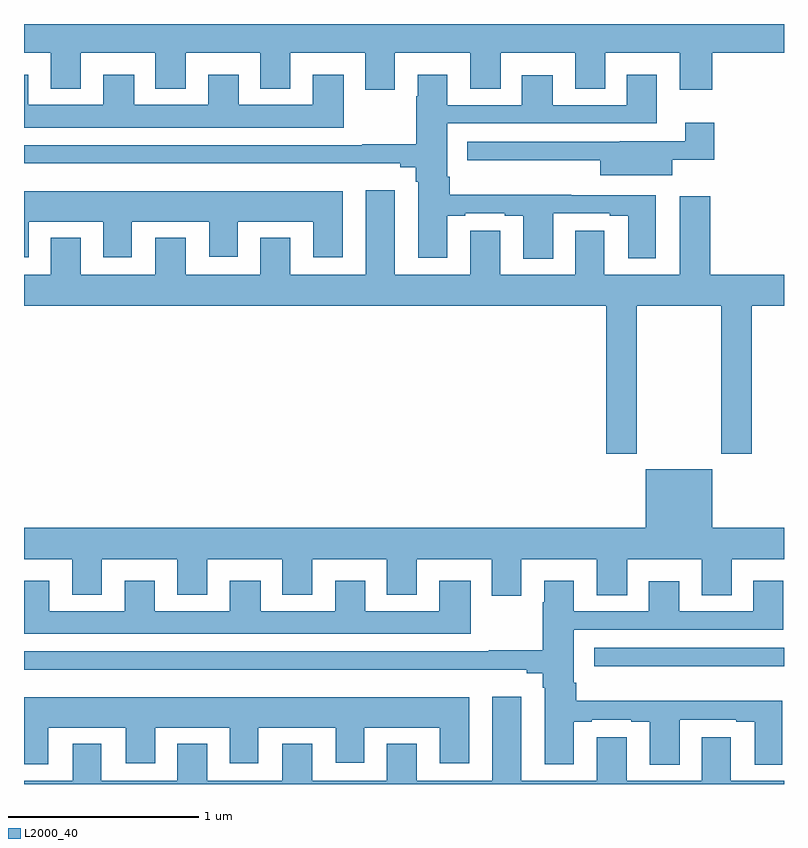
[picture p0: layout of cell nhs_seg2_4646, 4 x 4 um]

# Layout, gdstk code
import gdstk
lib = gdstk.Library(unit=1e-6, precision=1e-09)
def R(c, l, rs):  # rectangles x0, y0, x1, y1
    for r in rs: c.add(gdstk.rectangle(r[:2], r[2:], *l))
def P(c, l, *ps):  # polygons
    for p in ps: c.add(gdstk.Polygon(p, *l))
L2000_40 = (2000, 40)

nhs_seg2_4646 = lib.new_cell('nhs_seg2_4646')
R(nhs_seg2_4646, L2000_40, [(366,632.42,367,632.517)])
P(nhs_seg2_4646, L2000_40, [(364.951,635.648),(365.348,635.648),(365.348,635.458),(365.509,635.458),(365.509,635.648),(365.9,635.648),(365.9,635.458),(366.058,635.458),(366.058,635.648),(366.452,635.648),(366.452,635.454),(366.623,635.454),(366.623,635.648),(367,635.648),(367,635.8),(363,635.8),(363,635.648),(363.14,635.648),(363.14,635.459),(363.298,635.459),(363.298,635.648),(363.692,635.648),(363.692,635.459),(363.85,635.459),(363.85,635.648),(364.244,635.648),(364.244,635.459),(364.402,635.459),(364.402,635.648),(364.796,635.648),(364.796,635.454),(364.951,635.454)],
  [(364.684,635.533),(364.52,635.533),(364.52,635.374),(364.129,635.374),(364.129,635.533),(363.971,635.533),(363.971,635.374),(363.58,635.374),(363.58,635.533),(363.416,635.533),(363.416,635.374),(363.022,635.374),(363.022,635.533),(363,635.533),(363,635.255),(364.684,635.255)],
  [(365.785,634.803),(366.083,634.803),(366.083,634.791),(366.179,634.791),(366.179,634.566),(366.325,634.566),(366.325,634.899),(365.881,634.899),(365.881,634.901),(365.24,634.901),(365.24,634.996),(365.227,634.996),(365.227,635.277),(366.331,635.277),(366.331,635.533),(366.173,635.533),(366.173,635.373),(365.782,635.373),(365.782,635.53),(365.621,635.53),(365.621,635.373),(365.227,635.373),(365.227,635.533),(365.072,635.533),(365.072,635.42),(365.065,635.42),(365.065,635.168),(364.78,635.168),(364.78,635.163),(363,635.163),(363,635.066),(364.979,635.066),(364.979,635.047),(365.063,635.047),(365.063,634.97),(365.075,634.97),(365.075,634.569),(365.227,634.569),(365.227,634.791),(365.323,634.791),(365.323,634.803),(365.531,634.803),(365.531,634.791),(365.627,634.791),(365.627,634.565),(365.785,634.565)],
  [(366.412,635.085),(366.632,635.085),(366.632,635.281),(366.479,635.281),(366.479,635.182),(366.136,635.182),(366.136,635.181),(365.334,635.181),(365.334,635.084),(366.032,635.084),(366.032,635.003),(366.412,635.003)],
  [(366.225,634.316),(366.67,634.316),(366.67,633.537),(366.83,633.537),(366.83,634.316),(367,634.316),(367,634.48),(366.613,634.48),(366.613,634.894),(366.452,634.894),(366.452,634.48),(366.055,634.48),(366.055,634.711),(365.9,634.711),(365.9,634.48),(365.506,634.48),(365.506,634.711),(365.348,634.711),(365.348,634.48),(364.951,634.48),(364.951,634.924),(364.799,634.924),(364.799,634.48),(364.402,634.48),(364.402,634.675),(364.244,634.675),(364.244,634.48),(363.85,634.48),(363.85,634.675),(363.692,634.675),(363.692,634.48),(363.298,634.48),(363.298,634.675),(363.14,634.675),(363.14,634.48),(363,634.48),(363,634.316),(366.065,634.316),(366.065,633.537),(366.225,633.537)],
  [(363.025,634.76),(363.416,634.76),(363.416,634.572),(363.568,634.572),(363.568,634.76),(363.974,634.76),(363.974,634.575),(364.126,634.575),(364.126,634.76),(364.523,634.76),(364.523,634.572),(364.678,634.572),(364.678,634.921),(363,634.921),(363,634.572),(363.025,634.572)],
  [(363,632.984),(363.254,632.984),(363.254,632.795),(363.409,632.795),(363.409,632.984),(363.806,632.984),(363.806,632.795),(363.964,632.795),(363.964,632.984),(364.358,632.984),(364.358,632.795),(364.516,632.795),(364.516,632.984),(364.91,632.984),(364.91,632.795),(365.068,632.795),(365.068,632.984),(365.462,632.984),(365.462,632.79),(365.617,632.79),(365.617,632.984),(366.014,632.984),(366.014,632.794),(366.175,632.794),(366.175,632.984),(366.566,632.984),(366.566,632.794),(366.724,632.794),(366.724,632.984),(367,632.984),(367,633.148),(366.622,633.148),(366.622,633.457),(366.272,633.457),(366.272,633.148),(363,633.148)],
  [(365.35,632.869),(365.186,632.869),(365.186,632.71),(364.795,632.71),(364.795,632.869),(364.637,632.869),(364.637,632.71),(364.246,632.71),(364.246,632.869),(364.082,632.869),(364.082,632.71),(363.688,632.71),(363.688,632.869),(363.53,632.869),(363.53,632.71),(363.133,632.71),(363.133,632.869),(363,632.869),(363,632.591),(365.35,632.591)],
  [(366.451,632.139),(366.749,632.139),(366.749,632.127),(366.845,632.127),(366.845,631.902),(366.991,631.902),(366.991,632.237),(365.906,632.237),(365.906,632.332),(365.893,632.332),(365.893,632.613),(366.997,632.613),(366.997,632.869),(366.839,632.869),(366.839,632.709),(366.448,632.709),(366.448,632.866),(366.287,632.866),(366.287,632.709),(365.893,632.709),(365.893,632.869),(365.738,632.869),(365.738,632.756),(365.731,632.756),(365.731,632.504),(365.446,632.504),(365.446,632.499),(363,632.499),(363,632.402),(365.645,632.402),(365.645,632.383),(365.729,632.383),(365.729,632.306),(365.741,632.306),(365.741,631.905),(365.893,631.905),(365.893,632.127),(365.989,632.127),(365.989,632.139),(366.197,632.139),(366.197,632.127),(366.293,632.127),(366.293,631.901),(366.451,631.901)],
  [(367,631.816),(366.721,631.816),(366.721,632.047),(366.566,632.047),(366.566,631.816),(366.172,631.816),(366.172,632.047),(366.014,632.047),(366.014,631.816),(365.617,631.816),(365.617,632.26),(365.465,632.26),(365.465,631.816),(365.068,631.816),(365.068,632.011),(364.91,632.011),(364.91,631.816),(364.516,631.816),(364.516,632.011),(364.358,632.011),(364.358,631.816),(363.964,631.816),(363.964,632.011),(363.806,632.011),(363.806,631.816),(363.406,631.816),(363.406,632.011),(363.257,632.011),(363.257,631.816),(363,631.816),(363,631.8),(367,631.8)],
  [(363.127,632.096),(363.536,632.096),(363.536,631.908),(363.691,631.908),(363.691,632.096),(364.082,632.096),(364.082,631.908),(364.234,631.908),(364.234,632.096),(364.64,632.096),(364.64,631.911),(364.792,631.911),(364.792,632.096),(365.189,632.096),(365.189,631.908),(365.344,631.908),(365.344,632.257),(363,632.257),(363,631.905),(363.127,631.905)])

lib.write_gds('nhs_seg2_4646.gds')
